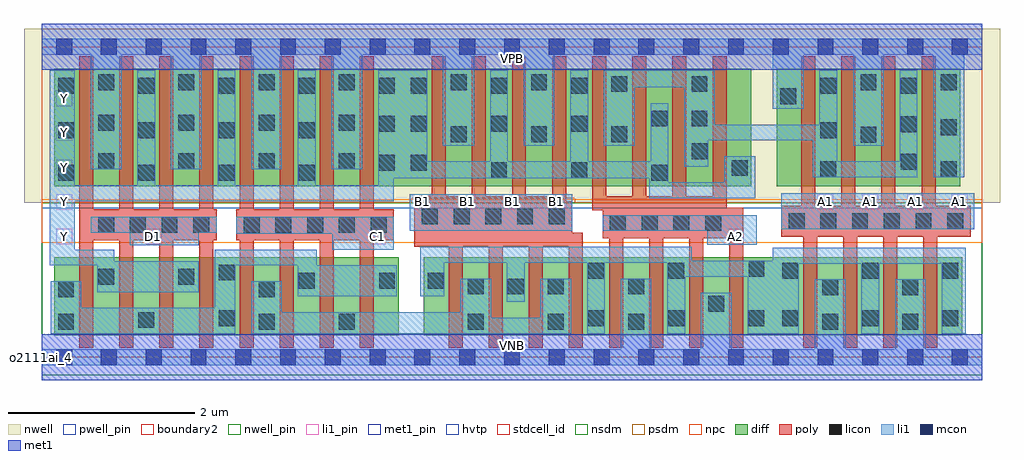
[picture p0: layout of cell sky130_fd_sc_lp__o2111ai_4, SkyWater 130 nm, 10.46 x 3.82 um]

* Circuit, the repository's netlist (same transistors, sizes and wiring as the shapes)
* Copyright 2020 The SkyWater PDK Authors
*
* Licensed under the Apache License, Version 2.0 (the "License");
* you may not use this file except in compliance with the License.
* You may obtain a copy of the License at
*
*     https://www.apache.org/licenses/LICENSE-2.0
*
* Unless required by applicable law or agreed to in writing, software
* distributed under the License is distributed on an "AS IS" BASIS,
* WITHOUT WARRANTIES OR CONDITIONS OF ANY KIND, either express or implied.
* See the License for the specific language governing permissions and
* limitations under the License.
*
* SPDX-License-Identifier: Apache-2.0

.SUBCKT sky130_fd_sc_lp__o2111ai_4 A1 A2 B1 C1 D1 VGND VNB VPB VPWR Y
*.PININFO A1:I A2:I B1:I C1:I D1:I VGND:I VNB:I VPB:I VPWR:I Y:O
MMPA0 VPWR A1 sndA1 VPB sky130_fd_pr__pfet_01v8_hvt m=4 w=1.26U l=0.15U mult=1
+ sa=0.265 sb=0.265 sd=0.28 area=0.063 perim=1.14
MMPA1 sndA1 A2 Y VPB sky130_fd_pr__pfet_01v8_hvt m=4 w=1.26U l=0.15U mult=1 sa=0.265
+ sb=0.265 sd=0.28 area=0.063 perim=1.14
MMPB0 VPWR B1 Y VPB sky130_fd_pr__pfet_01v8_hvt m=4 w=1.26U l=0.15U mult=1 sa=0.265
+ sb=0.265 sd=0.28 area=0.063 perim=1.14
MMPC0 VPWR C1 Y VPB sky130_fd_pr__pfet_01v8_hvt m=4 w=1.26U l=0.15U mult=1 sa=0.265
+ sb=0.265 sd=0.28 area=0.063 perim=1.14
MMPD0 VPWR D1 Y VPB sky130_fd_pr__pfet_01v8_hvt m=4 w=1.26U l=0.15U mult=1 sa=0.265
+ sb=0.265 sd=0.28 area=0.063 perim=1.14
MMNA0 pndA A1 VGND VNB sky130_fd_pr__nfet_01v8 m=4 w=0.84U l=0.15U mult=1 sa=0.265
+ sb=0.265 sd=0.28 area=0.063 perim=1.14
MMNA1 pndA A2 VGND VNB sky130_fd_pr__nfet_01v8 m=4 w=0.84U l=0.15U mult=1 sa=0.265
+ sb=0.265 sd=0.28 area=0.063 perim=1.14
MMNB0 pndB B1 pndA VNB sky130_fd_pr__nfet_01v8 m=4 w=0.84U l=0.15U mult=1 sa=0.265
+ sb=0.265 sd=0.28 area=0.063 perim=1.14
MMNC0 pndC C1 pndB VNB sky130_fd_pr__nfet_01v8 m=4 w=0.84U l=0.15U mult=1 sa=0.265
+ sb=0.265 sd=0.28 area=0.063 perim=1.14
MMND0 Y D1 pndC VNB sky130_fd_pr__nfet_01v8 m=4 w=0.84U l=0.15U mult=1 sa=0.265
+ sb=0.265 sd=0.28 area=0.063 perim=1.14
.ENDS sky130_fd_sc_lp__o2111ai_4

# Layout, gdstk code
import gdstk
lib = gdstk.Library(unit=1e-6, precision=1e-09)
def R(c, l, rs):  # rectangles x0, y0, x1, y1
    for r in rs: c.add(gdstk.rectangle(r[:2], r[2:], *l))
def A(c, l, x, y, w, h, nx, ny, dx, dy):  # array of equal rectangles
    R(c, l, [(x+i*dx, y+j*dy, x+i*dx+w, y+j*dy+h) for i in range(nx) for j in range(ny)])
def P(c, l, *ps):  # polygons
    for p in ps: c.add(gdstk.Polygon(p, *l))
nwell_pin = (64, 16)
nwell = (64, 20)
diff = (65, 20)
poly = (66, 20)
licon = (66, 44)
li1_pin = (67, 16)
li1 = (67, 20)
mcon = (67, 44)
met1_pin = (68, 16)
met1 = (68, 20)
hvtp = (78, 44)
stdcell_id = (81, 4)
nsdm = (93, 44)
psdm = (94, 20)
npc = (95, 20)
pwell_pin = (122, 16)
boundary2 = (236, 0)

sky130_fd_sc_lp__o2111ai = lib.new_cell('sky130_fd_sc_lp__o2111ai_4')
R(sky130_fd_sc_lp__o2111ai, nwell_pin, [(0,3.085,10.08,3.33)])
R(sky130_fd_sc_lp__o2111ai, nwell, [(-0.19,1.655,10.27,3.52)])
R(sky130_fd_sc_lp__o2111ai, diff, [(0.135,0.235,3.825,1.075), (4.095,0.235,9.865,1.075), (0.135,1.835,7.605,3.095), (7.875,1.835,9.845,3.095)])
P(sky130_fd_sc_lp__o2111ai, poly, [(1.875,1.585),(1.84,1.585),(1.84,3.225),(1.69,3.225),(1.69,1.585),(1.41,1.585),(1.41,3.225),(1.26,3.225),(1.26,1.585),(0.98,1.585),(0.98,3.225),(0.83,3.225),(0.83,1.585),(0.55,1.585),(0.55,3.225),(0.4,3.225),(0.4,0.105),(0.55,0.105),(0.55,1.255),(0.83,1.255),(0.83,0.105),(0.98,0.105),(0.98,1.255),(1.26,1.255),(1.26,0.105),(1.41,0.105),(1.41,1.255),(1.69,1.255),(1.69,0.105),(1.84,0.105),(1.84,1.255),(1.875,1.255)],
  [(3.775,1.585),(3.56,1.585),(3.56,3.225),(3.41,3.225),(3.41,1.585),(3.13,1.585),(3.13,3.225),(2.98,3.225),(2.98,1.585),(2.7,1.585),(2.7,3.225),(2.55,3.225),(2.55,1.585),(2.27,1.585),(2.27,3.225),(2.12,3.225),(2.12,1.585),(2.085,1.585),(2.085,1.255),(2.12,1.255),(2.12,0.105),(2.27,0.105),(2.27,1.255),(2.55,1.255),(2.55,0.105),(2.7,0.105),(2.7,1.255),(2.98,1.255),(2.98,0.105),(3.13,0.105),(3.13,1.255),(3.41,1.255),(3.41,0.105),(3.56,0.105),(3.56,1.255),(3.775,1.255)],
  [(5.8,1.335),(5.685,1.335),(5.685,1.675),(5.62,1.675),(5.62,3.225),(5.47,3.225),(5.47,1.725),(5.19,1.725),(5.19,3.225),(5.04,3.225),(5.04,1.725),(4.76,1.725),(4.76,3.225),(4.61,3.225),(4.61,1.725),(4.355,1.725),(4.355,1.73),(4.33,1.73),(4.33,3.225),(4.18,3.225),(4.18,1.73),(3.995,1.73),(3.995,1.185),(4.36,1.185),(4.36,0.105),(4.51,0.105),(4.51,1.185),(4.79,1.185),(4.79,0.105),(4.94,0.105),(4.94,1.185),(5.22,1.185),(5.22,0.105),(5.37,0.105),(5.37,1.185),(5.65,1.185),(5.65,0.105),(5.8,0.105)],
  [(7.52,1.605),(7.34,1.605),(7.34,3.225),(7.19,3.225),(7.19,1.725),(6.91,1.725),(6.91,3.225),(6.76,3.225),(6.76,1.725),(6.48,1.725),(6.48,3.225),(6.33,3.225),(6.33,1.725),(6.05,1.725),(6.05,3.225),(5.9,3.225),(5.9,1.575),(6.01,1.575),(6.01,1.275),(6.08,1.275),(6.08,0.105),(6.23,0.105),(6.23,1.275),(6.51,1.275),(6.51,0.105),(6.66,0.105),(6.66,1.275),(6.94,1.275),(6.94,0.105),(7.09,0.105),(7.09,1.275),(7.37,1.275),(7.37,0.105),(7.52,0.105)],
  [(9.955,1.625),(9.58,1.625),(9.58,3.225),(9.43,3.225),(9.43,1.625),(9.15,1.625),(9.15,3.225),(9,3.225),(9,1.625),(8.72,1.625),(8.72,3.225),(8.57,3.225),(8.57,1.625),(8.29,1.625),(8.29,3.225),(8.14,3.225),(8.14,1.625),(7.925,1.625),(7.925,1.295),(8.16,1.295),(8.16,0.105),(8.31,0.105),(8.31,1.295),(8.59,1.295),(8.59,0.105),(8.74,0.105),(8.74,1.295),(9.02,1.295),(9.02,0.105),(9.17,0.105),(9.17,1.295),(9.45,1.295),(9.45,0.105),(9.6,0.105),(9.6,1.295),(9.955,1.295)])
A(sky130_fd_sc_lp__o2111ai, licon, 4.565, 0.295, 0.17, 0.17, 3, 1, 0.86, 0)
A(sky130_fd_sc_lp__o2111ai, licon, 5.855, 0.335, 0.17, 0.17, 3, 1, 0.86, 0)
A(sky130_fd_sc_lp__o2111ai, licon, 7.935, 0.335, 0.17, 0.17, 3, 2, 0.86, 0.51)
A(sky130_fd_sc_lp__o2111ai, licon, 4.565, 0.675, 0.17, 0.17, 3, 1, 0.43, 0)
A(sky130_fd_sc_lp__o2111ai, licon, 0.605, 1.335, 0.17, 0.17, 4, 1, 0.34, 0)
A(sky130_fd_sc_lp__o2111ai, licon, 2.165, 1.335, 0.17, 0.17, 5, 1, 0.34, 0)
A(sky130_fd_sc_lp__o2111ai, licon, 6.09, 1.355, 0.17, 0.17, 4, 1, 0.34, 0)
A(sky130_fd_sc_lp__o2111ai, licon, 8.005, 1.375, 0.17, 0.17, 6, 1, 0.34, 0)
A(sky130_fd_sc_lp__o2111ai, licon, 4.075, 1.425, 0.17, 0.17, 5, 1, 0.34, 0)
A(sky130_fd_sc_lp__o2111ai, licon, 0.175, 1.895, 0.17, 0.17, 4, 2, 0.86, 0.455)
A(sky130_fd_sc_lp__o2111ai, licon, 0.605, 2.015, 0.17, 0.17, 4, 2, 0.86, 0.415)
A(sky130_fd_sc_lp__o2111ai, licon, 4.385, 2.305, 0.17, 0.17, 3, 1, 0.86, 0)
A(sky130_fd_sc_lp__o2111ai, licon, 3.955, 2.42, 0.17, 0.17, 3, 2, 0.86, 0.405)
A(sky130_fd_sc_lp__o2111ai, licon, 0.175, 2.825, 0.17, 0.17, 5, 1, 0.86, 0)
A(sky130_fd_sc_lp__o2111ai, licon, 0.605, 2.865, 0.17, 0.17, 4, 1, 0.86, 0)
R(sky130_fd_sc_lp__o2111ai, licon, [(0.175,0.295,0.345,0.465), (2.325,0.295,2.495,0.465), (3.185,0.295,3.355,0.465), (8.365,0.295,8.535,0.465), (9.225,0.295,9.395,0.465), (1.035,0.315,1.205,0.485), (1.895,0.335,2.065,0.505), (7.145,0.49,7.315,0.66), (0.175,0.645,0.345,0.815), (2.325,0.645,2.495,0.815), (8.365,0.665,8.535,0.835), (9.225,0.665,9.395,0.835), (6.285,0.675,6.455,0.845), (2.755,0.735,2.925,0.905), (3.615,0.735,3.785,0.905), (4.135,0.735,4.305,0.905), (0.605,0.78,0.775,0.95), (1.465,0.78,1.635,0.95), (1.895,0.825,2.065,0.995), (5.855,0.845,6.025,1.015), (6.715,0.845,6.885,1.015), (7.575,0.865,7.745,1.035), (6.535,1.895,6.705,2.065), (4.815,1.92,4.985,2.09), (5.675,1.92,5.845,2.09), (8.345,1.93,8.515,2.1), (9.635,1.93,9.805,2.1), (7.395,1.945,7.565,2.115), (3.615,2,3.785,2.17), (3.955,2,4.125,2.17), (9.205,2.01,9.375,2.18), (6.965,2.125,7.135,2.295), (8.775,2.3,8.945,2.47), (8.345,2.35,8.515,2.52), (9.635,2.38,9.805,2.55), (9.205,2.415,9.375,2.585), (3.615,2.42,3.785,2.59), (6.535,2.475,6.705,2.645), (6.965,2.475,7.135,2.645), (7.915,2.715,8.085,2.885), (8.345,2.825,8.515,2.995), (9.205,2.825,9.375,2.995), (6.105,2.845,6.275,3.015), (6.965,2.845,7.135,3.015), (4.385,2.865,4.555,3.035), (5.245,2.865,5.415,3.035), (8.775,2.865,8.945,3.035), (9.635,2.865,9.805,3.035)])
A(sky130_fd_sc_lp__o2111ai, li1_pin, 0.155, 1.21, 0.17, 0.17, 1, 5, 0, 0.37)
A(sky130_fd_sc_lp__o2111ai, li1_pin, 3.995, 1.58, 0.17, 0.17, 4, 1, 0.48, 0)
A(sky130_fd_sc_lp__o2111ai, li1_pin, 8.315, 1.58, 0.17, 0.17, 4, 1, 0.48, 0)
R(sky130_fd_sc_lp__o2111ai, li1_pin, [(1.115,1.21,1.285,1.38), (3.515,1.21,3.685,1.38), (7.355,1.21,7.525,1.38)])
R(sky130_fd_sc_lp__o2111ai, li1, [(3.945,1.355,5.685,1.75), (7.925,1.375,9.995,1.76)])
P(sky130_fd_sc_lp__o2111ai, li1, [(10.08,0.085),(9.475,0.085),(9.475,0.835),(9.145,0.835),(9.145,0.085),(8.615,0.085),(8.615,0.835),(8.285,0.835),(8.285,0.085),(7.395,0.085),(7.395,0.695),(7.065,0.695),(7.065,0.085),(6.535,0.085),(6.535,0.845),(6.205,0.845),(6.205,0.085),(0,0.085),(0,-0.085),(10.08,-0.085)],
  [(1.875,1.505),(0.525,1.505),(0.525,1.335),(0.945,1.335),(0.945,1.2),(1.685,1.2),(1.685,1.335),(1.875,1.335)],
  [(7.645,2.155),(7.315,2.155),(7.315,1.875),(6.715,1.875),(6.715,2.725),(6.525,2.725),(6.525,2.1),(5.855,2.1),(5.855,3.075),(5.665,3.075),(5.665,2.1),(4.995,2.1),(4.995,3.075),(4.805,3.075),(4.805,2.1),(4.13,2.1),(4.13,3.075),(3.605,3.075),(3.605,1.845),(2.935,1.845),(2.935,3.075),(2.745,3.075),(2.745,1.845),(2.075,1.845),(2.075,3.075),(1.885,3.075),(1.885,1.845),(1.215,1.845),(1.215,3.075),(1.025,3.075),(1.025,1.845),(0.355,1.845),(0.355,3.075),(0.085,3.075),(0.085,0.985),(0.595,0.985),(0.595,0.7),(1.685,0.7),(1.685,1.03),(0.775,1.03),(0.775,1.155),(0.355,1.155),(0.355,1.675),(3.775,1.675),(3.775,1.92),(6.51,1.92),(6.51,1.705),(7.645,1.705)],
  [(7.665,1.525),(6.01,1.525),(6.01,1.355),(7.135,1.355),(7.135,1.205),(7.665,1.205)],
  [(3.775,1.505),(2.085,1.505),(2.085,1.325),(3.115,1.325),(3.115,1.155),(3.775,1.155)],
  [(10.08,3.415),(0,3.415),(0,3.245),(0.525,3.245),(0.525,2.015),(0.855,2.015),(0.855,3.245),(1.385,3.245),(1.385,2.015),(1.715,2.015),(1.715,3.245),(2.245,3.245),(2.245,2.015),(2.575,2.015),(2.575,3.245),(3.105,3.245),(3.105,2.015),(3.435,2.015),(3.435,3.245),(4.3,3.245),(4.3,2.27),(4.635,2.27),(4.635,3.245),(5.165,3.245),(5.165,2.27),(5.495,2.27),(5.495,3.245),(7.835,3.245),(7.835,2.665),(8.165,2.665),(8.165,3.245),(8.695,3.245),(8.695,2.27),(9.025,2.27),(9.025,3.245),(9.555,3.245),(9.555,1.93),(9.885,1.93),(9.885,3.245),(10.08,3.245)],
  [(3.805,0.985),(2.945,0.985),(2.945,1.155),(1.855,1.155),(1.855,0.53),(0.425,0.53),(0.425,0.815),(0.095,0.815),(0.095,0.255),(2.075,0.255),(2.075,0.985),(2.745,0.985),(2.745,0.655),(3.805,0.655)],
  [(5.675,0.845),(5.345,0.845),(5.345,0.425),(4.815,0.425),(4.815,0.845),(4.485,0.845),(4.485,0.485),(2.575,0.485),(2.575,0.815),(2.245,0.815),(2.245,0.255),(5.675,0.255)],
  [(9.385,3.075),(9.195,3.075),(9.195,2.1),(8.525,2.1),(8.525,3.075),(8.335,3.075),(8.335,2.495),(7.215,2.495),(7.215,3.075),(6.025,3.075),(6.025,2.27),(6.355,2.27),(6.355,2.895),(6.885,2.895),(6.885,2.045),(7.145,2.045),(7.145,2.325),(8.265,2.325),(8.265,1.93),(9.385,1.93)],
  [(9.905,1.175),(7.835,1.175),(7.835,1.035),(6.965,1.035),(6.965,1.185),(4.055,1.185),(4.055,0.655),(4.315,0.655),(4.315,1.015),(4.985,1.015),(4.985,0.595),(5.175,0.595),(5.175,1.015),(5.845,1.015),(5.845,0.255),(6.035,0.255),(6.035,1.015),(6.705,1.015),(6.705,0.255),(6.895,0.255),(6.895,0.865),(7.565,0.865),(7.565,0.255),(8.115,0.255),(8.115,1.005),(8.785,1.005),(8.785,0.255),(8.975,0.255),(8.975,1.005),(9.645,1.005),(9.645,0.255),(9.905,0.255)])
A(sky130_fd_sc_lp__o2111ai, mcon, 0.155, -0.085, 0.17, 0.17, 21, 2, 0.48, 3.33)
R(sky130_fd_sc_lp__o2111ai, met1_pin, [(0,0,10.08,0.245), (0,3.085,10.08,3.33)])
R(sky130_fd_sc_lp__o2111ai, met1, [(0,-0.245,10.08,0.245), (0,3.085,10.08,3.575)])
R(sky130_fd_sc_lp__o2111ai, hvtp, [(0,1.6,10.08,3.33)])
R(sky130_fd_sc_lp__o2111ai, stdcell_id, [(0,0,10.08,3.33)])
R(sky130_fd_sc_lp__o2111ai, nsdm, [(0,-0.19,10.08,1.655)])
P(sky130_fd_sc_lp__o2111ai, psdm, [(10.08,3.52),(0,3.52),(0,1.655),(3.965,1.655),(3.965,1.705),(5.715,1.705),(5.715,1.655),(10.08,1.655)])
R(sky130_fd_sc_lp__o2111ai, npc, [(0,1.23,10.08,1.695)])
R(sky130_fd_sc_lp__o2111ai, pwell_pin, [(0,0,10.08,0.245)])
R(sky130_fd_sc_lp__o2111ai, boundary2, [(0,0,10.08,3.33)])
sky130_fd_sc_lp__o2111ai.add(gdstk.Label('VNB', (5.04,0.123), layer=64, texttype=59))
sky130_fd_sc_lp__o2111ai.add(gdstk.Label('VPB', (5.04,3.208), layer=64, texttype=5))
sky130_fd_sc_lp__o2111ai.add(gdstk.Label('o2111ai_4', (0,0), layer=83, texttype=44))
sky130_fd_sc_lp__o2111ai.add(gdstk.Label('VPWR', (5.04,3.208), layer=68, texttype=5))
sky130_fd_sc_lp__o2111ai.add(gdstk.Label('VGND', (5.04,0.123), layer=68, texttype=5))
sky130_fd_sc_lp__o2111ai.add(gdstk.Label('Y', (0.24,1.295), layer=67, texttype=5))
sky130_fd_sc_lp__o2111ai.add(gdstk.Label('Y', (0.24,1.665), layer=67, texttype=5))
sky130_fd_sc_lp__o2111ai.add(gdstk.Label('Y', (0.24,2.035), layer=67, texttype=5))
sky130_fd_sc_lp__o2111ai.add(gdstk.Label('Y', (0.24,2.405), layer=67, texttype=5))
sky130_fd_sc_lp__o2111ai.add(gdstk.Label('Y', (0.24,2.775), layer=67, texttype=5))
sky130_fd_sc_lp__o2111ai.add(gdstk.Label('A1', (8.4,1.665), layer=67, texttype=5))
sky130_fd_sc_lp__o2111ai.add(gdstk.Label('A1', (8.88,1.665), layer=67, texttype=5))
sky130_fd_sc_lp__o2111ai.add(gdstk.Label('A1', (9.36,1.665), layer=67, texttype=5))
sky130_fd_sc_lp__o2111ai.add(gdstk.Label('A1', (9.84,1.665), layer=67, texttype=5))
sky130_fd_sc_lp__o2111ai.add(gdstk.Label('A2', (7.44,1.295), layer=67, texttype=5))
sky130_fd_sc_lp__o2111ai.add(gdstk.Label('B1', (4.08,1.665), layer=67, texttype=5))
sky130_fd_sc_lp__o2111ai.add(gdstk.Label('B1', (4.56,1.665), layer=67, texttype=5))
sky130_fd_sc_lp__o2111ai.add(gdstk.Label('B1', (5.04,1.665), layer=67, texttype=5))
sky130_fd_sc_lp__o2111ai.add(gdstk.Label('B1', (5.52,1.665), layer=67, texttype=5))
sky130_fd_sc_lp__o2111ai.add(gdstk.Label('C1', (3.6,1.295), layer=67, texttype=5))
sky130_fd_sc_lp__o2111ai.add(gdstk.Label('D1', (1.2,1.295), layer=67, texttype=5))

lib.write_gds('sky130_fd_sc_lp__o2111ai_4.gds')
